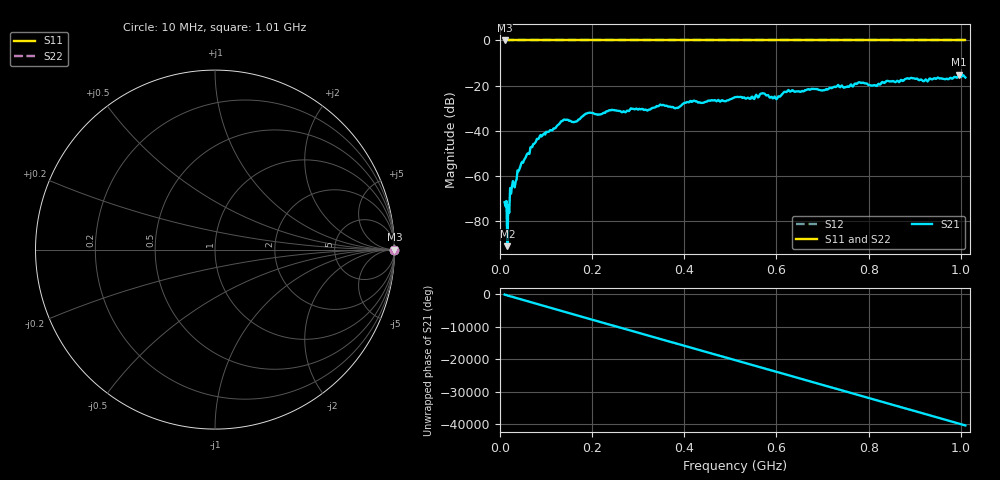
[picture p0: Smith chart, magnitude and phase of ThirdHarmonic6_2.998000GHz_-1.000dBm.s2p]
! 8/17/2025 8:33:57 AM
! C:\ANRITSUVNA\TEMP\TEMP.S2P
! CHANNEL.1
! TR.MEASUREMENT
! RAW.DATA
! RF.CORRECTION.OFF
! AVERAGING.OFF
! IF.BANDWIDTH: 5KHZ
! SWEEPTYPE:  FREQ.SWEEP(Linear)
! Reference Plane Port Info
! PORT:  PORT1  PORT2
! DISTANCE:  0  m  0  m
! TIME:  0  s  0  s
! PHASE.OFFSET:  0  deg.  0  deg.
! LOSS:  0  dB  0  dB
! REF.LOSS:  0  dB  0  dB
! REF.FREQ:  0  Hz  0  Hz
! Power Info
! POWER:  -20  dBm  -20  dBm
! EFF.POWER:  -20  dBm  -20  dBm
! SOURCE.ATTEN:  0  dB  0  dB
! TEST.ATTEN:  0  dB  0  dB
# GHZ S RI R 50.0
! FREQ.GHZ  S11RE  S11IM  S21RE  S21IM  S12RE  S12IM  S22RE  S22IM
!; PortSelection: Port_12
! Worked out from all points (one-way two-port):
!   501 points, 10 MHz to 1.01 GHz, reference 50 ohm
!   highest |S21| = -15.11 dB at 996 MHz (marker M1); lowest = -91.0 dB at 16 MHz (marker M2)
!   lowest |S11| = 0.0 dB at 10 MHz (marker M3)
!   |S11| at or under -10 dB: nowhere
!   |S22| runs from 0.0 to 0.0 dB; largest |S21 - S12| = 1.2
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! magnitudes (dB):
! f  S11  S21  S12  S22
! 10 MHz  0.0  -71.5  0.0  0.0
! 16 MHz  0.0  -91.0  0.0  0.0
! 20 MHz  0.0  -76.2  0.0  0.0
! 26 MHz  0.0  -64.4  0.0  0.0
! 34 MHz  0.0  -62.4  0.0  0.0
! 42 MHz  0.0  -57.0  0.0  0.0
! 84 MHz  0.0  -43.5  0.0  0.0
! 136 MHz  0.0  -35.6  0.0  0.0
! 162 MHz  0.0  -36.1  0.0  0.0
! 178 MHz  0.0  -33.7  0.0  0.0
! 344 MHz  0.0  -29.1  0.0  0.0
! 382 MHz  0.0  -29.9  0.0  0.0
! 410 MHz  0.0  -27.4  0.0  0.0
! 510 MHz  0.0  -25.1  0.0  0.0
! 548 MHz  0.0  -24.9  0.0  0.0
! 570 MHz  0.0  -23.4  0.0  0.0
! 598 MHz  0.0  -25.5  0.0  0.0
! 622 MHz  0.0  -22.8  0.0  0.0
! 678 MHz  0.0  -21.5  0.0  0.0
! 844 MHz  0.0  -18.1  0.0  0.0
! 996 MHz  0.0  -15.1  0.0  0.0
! 1.01 GHz  0.0  -16.4  0.0  0.0
